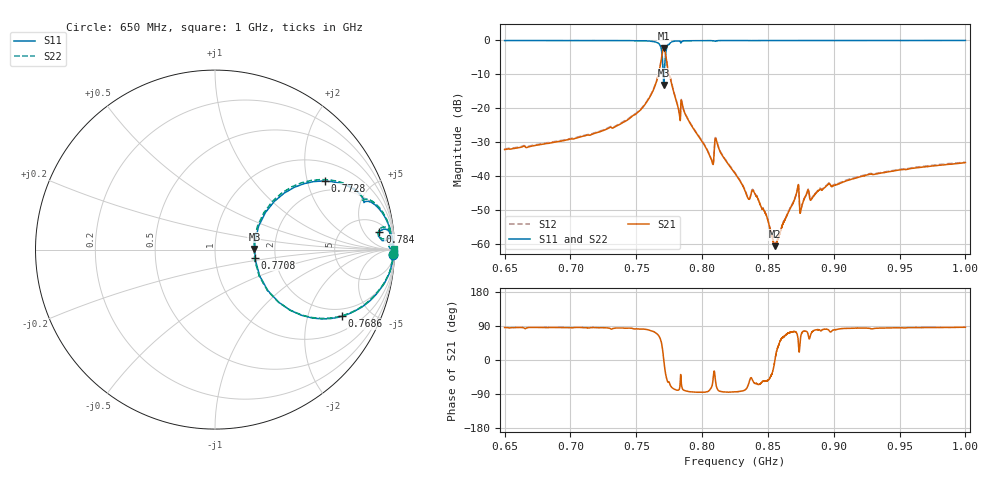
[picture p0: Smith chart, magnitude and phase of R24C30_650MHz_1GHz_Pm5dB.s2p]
!Keysight Technologies,N5221A,MY56011522,A.10.47.06
!Date: Tuesday, September 29, 2020 16:00:30
!Correction: S11(Full 2 Port(1,2))
!S21(Full 2 Port(1,2))
!S12(Full 2 Port(1,2))
!S22(Full 2 Port(1,2))
!S2P File: Measurements: S11, S21, S12, S22:
# Hz S  dB  R 50
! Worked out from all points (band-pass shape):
!   16001 points, 650 MHz to 1 GHz, reference 50 ohm
!   highest |S21| = -2.21 dB at 770.9 MHz (marker M1); lowest = -60.5 dB at 855.5 MHz (marker M2)
!   |S21| within 3 dB of the highest: 769.1885 MHz to 772.7253 MHz (3.537 MHz wide, 0.459 % of centre)
!   lowest |S11| = -13.2 dB at 770.9 MHz (marker M3), VSWR 1.56, Z = 78.2 + j0.693 ohm
!   |S11| at or under -10 dB: 770.4557 MHz to 771.313 MHz (857.3 kHz wide, 0.111 % of centre)
!   |S22| runs from -13.3 to 0.0 dB; largest |S21 - S12| = 0.011
!   S11 on the Smith chart (normalised r, x): 650 MHz: 14, -67; 768.6 MHz: 1.61, -3.34; 770.8 MHz: 1.56, -0.15; 772.8 MHz: 1.62, +2.58; 784 MHz: 9, +12; 1 GHz: open
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6.5e8  -0.05 -1.6  -32.09 85.7  -31.91 85.5  -0.07 -1.5
7.083406e8  -0.06 -2.3  -28.29 85.7  -28.11 85.5  -0.07 -1.9
7.505812e8  -0.11 -5.1  -21.35 82.2  -21.17 81.6  -0.12 -5.0
7.666812e8  -0.79 -17.9  -10.31 65.8  -10.14 65.4  -0.82 -17.8
7.686062e8  -1.93 -27.6  -6.61 52.5  -6.51 52.2  -1.97 -27.6
7.707719e8  -12.89 -11.3  -2.22 3.4  -2.19 3.7  -13.00 -11.9
7.708812e8  -13.15 1.1  -2.21 -0.2  -2.17 0.2  -13.33 0.4
7.727625e8  -2.84 32.0  -5.30 -44.8  -5.15 -44.2  -2.94 33.2
7.768969e8  -0.44 13.0  -12.87 -72.0  -12.68 -71.7  -0.46 13.9
7.840281e8  -0.71 6.1  -17.69 -51.8  -17.54 -51.8  -0.73 6.9
8.070625e8  -0.08 0.7  -35.03 -72.7  -34.84 -72.6  -0.09 1.0
8.111531e8  -0.11 1.6  -29.83 -73.0  -29.65 -73.2  -0.12 1.8
8.25e8  -0.05 0.5  -39.13 -84.0  -38.91 -84.1  -0.04 0.8
8.348656e8  -0.06 0.2  -46.40 -67.5  -46.18 -67.7  -0.05 0.6
8.407281e8  -0.06 0.1  -45.63 -62.2  -45.46 -62.2  -0.05 0.7
8.5545e8  -0.05 -0.2  -60.51 2.6  -60.25 3.2  -0.05 0.5
8.718562e8  -0.05 -0.6  -44.79 71.0  -44.64 70.6  -0.06 -0.1
8.754875e8  -0.04 -0.5  -49.19 69.1  -48.97 69.5  -0.05 -0.1
8.796e8  -0.05 -0.6  -44.94 75.0  -44.73 74.8  -0.05 -0.3
8.833406e8  -0.05 -0.5  -46.57 73.3  -46.38 73.2  -0.05 -0.2
9.416812e8  -0.04 -0.8  -38.64 84.7  -38.47 84.6  -0.05 -0.3
1e9  -0.03 -1.1  -35.94 86.4  -35.77 86.6  -0.01 0.2
